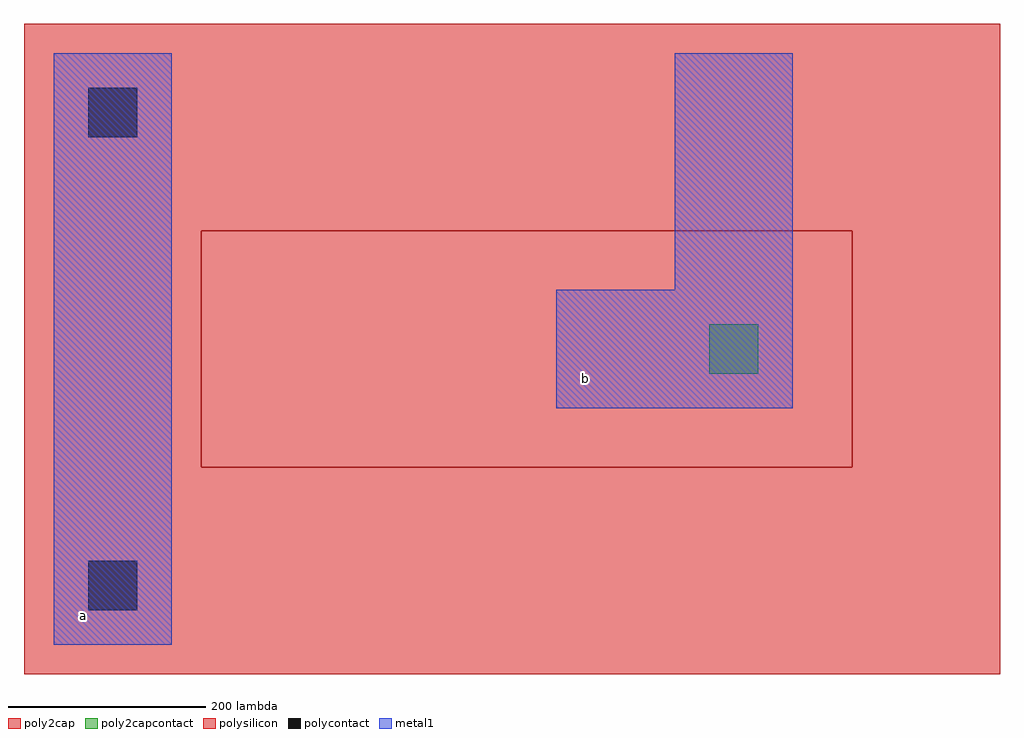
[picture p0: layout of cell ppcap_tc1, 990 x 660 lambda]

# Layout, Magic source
magic
tech amic5n
<< poly2cap >>
rect 180 210 840 450
<< poly2capcontact >>
rect 695 305 745 355
<< polysilicon >>
rect 0 450 990 660
rect 0 210 180 450
rect 840 210 990 450
rect 0 0 990 210
<< polycontact >>
rect 65 545 115 595
<< polycontact >>
rect 65 65 115 115
<< metal1 >>
rect 30 30 150 630
rect 660 390 780 630
rect 540 270 780 390
<< labels >>
flabel metal1 s 60 60 60 60 2 FreeSans 400 0 0 0 a
port 1 ne
flabel metal1 s 570 300 570 300 2 FreeSans 400 0 0 0 b
port 2 ne
<< end >>
